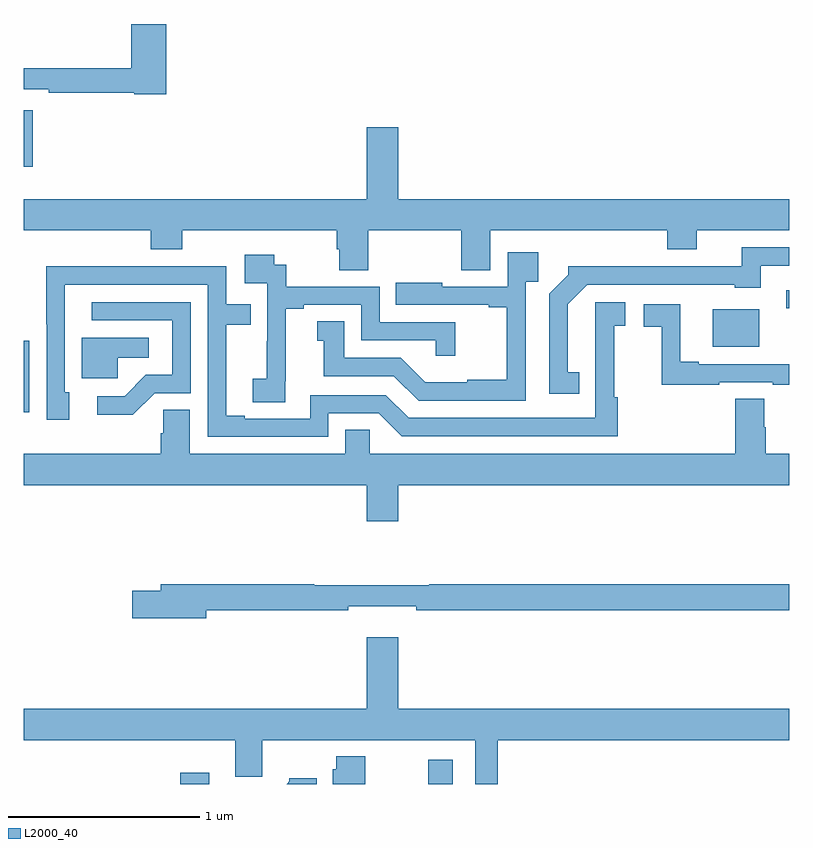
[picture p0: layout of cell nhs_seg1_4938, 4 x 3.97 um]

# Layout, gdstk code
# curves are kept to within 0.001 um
import gdstk
lib = gdstk.Library(unit=1e-6, precision=1e-09)
def R(c, l, rs):  # rectangles x0, y0, x1, y1
    for r in rs: c.add(gdstk.rectangle(r[:2], r[2:], *l))
def P(c, l, *ps):  # polygons
    for p in ps: c.add(gdstk.Polygon(p, *l))
L2000_40 = (2000, 40)

nhs_seg1_4938 = lib.new_cell('nhs_seg1_4938')
R(nhs_seg1_4938, L2000_40, [(379.817,522.199,379.969,522.259), (381.113,522.199,381.241,522.325), (379,524.142,379.029,524.515), (382.601,524.483,382.843,524.68), (382.985,524.685,383,524.779), (379,525.426,379.046,525.721)])
P(nhs_seg1_4938, L2000_40, [(379.745,526.171),(379.562,526.171),(379.562,525.94),(379,525.94),(379,525.831),(379.129,525.831),(379.129,525.811),(379.578,525.811),(379.578,525.803),(379.745,525.803)],
  [(380.801,525.092),(381.287,525.092),(381.287,524.884),(381.439,524.884),(381.439,525.092),(382.364,525.092),(382.364,524.993),(382.516,524.993),(382.516,525.092),(383,525.092),(383,525.256),(380.956,525.256),(380.956,525.631),(380.792,525.631),(380.792,525.256),(379,525.256),(379,525.092),(379.664,525.092),(379.664,524.993),(379.829,524.993),(379.829,525.092),(380.636,525.092),(380.636,524.994),(380.648,524.994),(380.648,524.884),(380.801,524.884)],
  [(381.902,524.351),(381.844,524.351),(381.844,524.707),(381.945,524.808),(382.716,524.808),(382.716,524.792),(382.852,524.792),(382.852,524.907),(383,524.907),(383,525.003),(382.753,525.003),(382.753,524.904),(382.28,524.904),(382.28,524.906),(381.846,524.906),(381.846,524.861),(381.747,524.762),(381.747,524.238),(381.902,524.238)],
  [(381.624,524.825),(381.689,524.825),(381.689,524.977),(381.528,524.977),(381.528,524.799),(381.187,524.799),(381.187,524.818),(380.944,524.818),(380.944,524.703),(381.431,524.703),(381.431,524.691),(381.523,524.691),(381.523,524.311),(381.317,524.311),(381.317,524.299),(381.098,524.299),(380.97,524.427),(380.674,524.427),(380.674,524.618),(380.534,524.618),(380.534,524.515),(380.567,524.515),(380.567,524.331),(380.934,524.331),(381.063,524.202),(381.624,524.202)],
  [(380.366,524.305),(380.368,524.305),(380.368,524.683),(380.464,524.683),(380.464,524.703),(380.763,524.703),(380.763,524.517),(381.153,524.517),(381.153,524.436),(381.254,524.436),(381.254,524.613),(380.859,524.613),(380.859,524.799),(380.372,524.799),(380.372,524.913),(380.31,524.913),(380.31,524.965),(380.154,524.965),(380.154,524.817),(380.271,524.817),(380.271,524.513),(380.27,524.513),(380.27,524.316),(380.196,524.316),(380.196,524.194),(380.366,524.194)],
  [(380.592,524.136),(380.856,524.136),(380.976,524.016),(382.103,524.016),(382.103,524.219),(382.086,524.219),(382.086,524.595),(382.144,524.595),(382.144,524.716),(381.986,524.716),(381.987,524.112),(381.012,524.112),(380.892,524.232),(380.496,524.232),(380.496,524.109),(380.155,524.109),(380.155,524.124),(380.059,524.124),(380.059,524.598),(380.186,524.598),(380.186,524.706),(380.058,524.706),(380.058,524.904),(379.58,524.904),(379.58,524.906),(379.118,524.906),(379.119,524.103),(379.237,524.103),(379.237,524.247),(379.215,524.247),(379.215,524.808),(379.962,524.808),(379.962,524.013),(380.592,524.013)],
  [(379.683,524.241),(379.872,524.241),(379.872,524.718),(379.356,524.718),(379.356,524.622),(379.776,524.622),(379.776,524.337),(379.638,524.337),(379.527,524.226),(379.383,524.226),(379.383,524.129),(379.57,524.129)],
  [(382.634,524.298),(382.913,524.298),(382.913,524.286),(383,524.286),(383,524.394),(382.528,524.394),(382.528,524.407),(382.432,524.407),(382.432,524.706),(382.239,524.706),(382.239,524.59),(382.333,524.59),(382.333,524.286),(382.634,524.286)],
  [(379.491,524.426),(379.654,524.426),(379.654,524.53),(379.304,524.53),(379.304,524.319),(379.491,524.319)],
  [(380.956,523.76),(383,523.76),(383,523.924),(382.878,523.924),(382.878,524.063),(382.87,524.063),(382.87,524.213),(382.718,524.213),(382.718,523.924),(380.808,523.924),(380.808,524.051),(380.681,524.051),(380.681,523.924),(379.867,523.924),(379.867,524.156),(379.728,524.156),(379.728,524.033),(379.715,524.033),(379.715,523.924),(379,523.924),(379,523.76),(380.792,523.76),(380.792,523.572),(380.956,523.572)],
  [(379.954,523.108),(380.696,523.108),(380.696,523.127),(381.052,523.127),(381.052,523.108),(383,523.108),(383,523.244),(381.119,523.244),(381.119,523.237),(380.519,523.237),(380.519,523.244),(379.715,523.244),(379.715,523.208),(379.566,523.208),(379.566,523.066),(379.954,523.066)],
  [(381.476,522.428),(383,522.428),(383,522.592),(380.956,522.592),(380.956,522.967),(380.792,522.967),(380.792,522.592),(379,522.592),(379,522.428),(380.105,522.428),(380.105,522.238),(380.245,522.238),(380.245,522.428),(381.36,522.428),(381.36,522.199),(381.476,522.199)],
  [(380.784,522.343),(380.632,522.343),(380.632,522.276),(380.615,522.276),(380.615,522.199),(380.784,522.199)],
  [(380.53,522.229),(380.388,522.229),(380.388,522.214),(380.373,522.199),(380.53,522.199)])

lib.write_gds('nhs_seg1_4938.gds')
